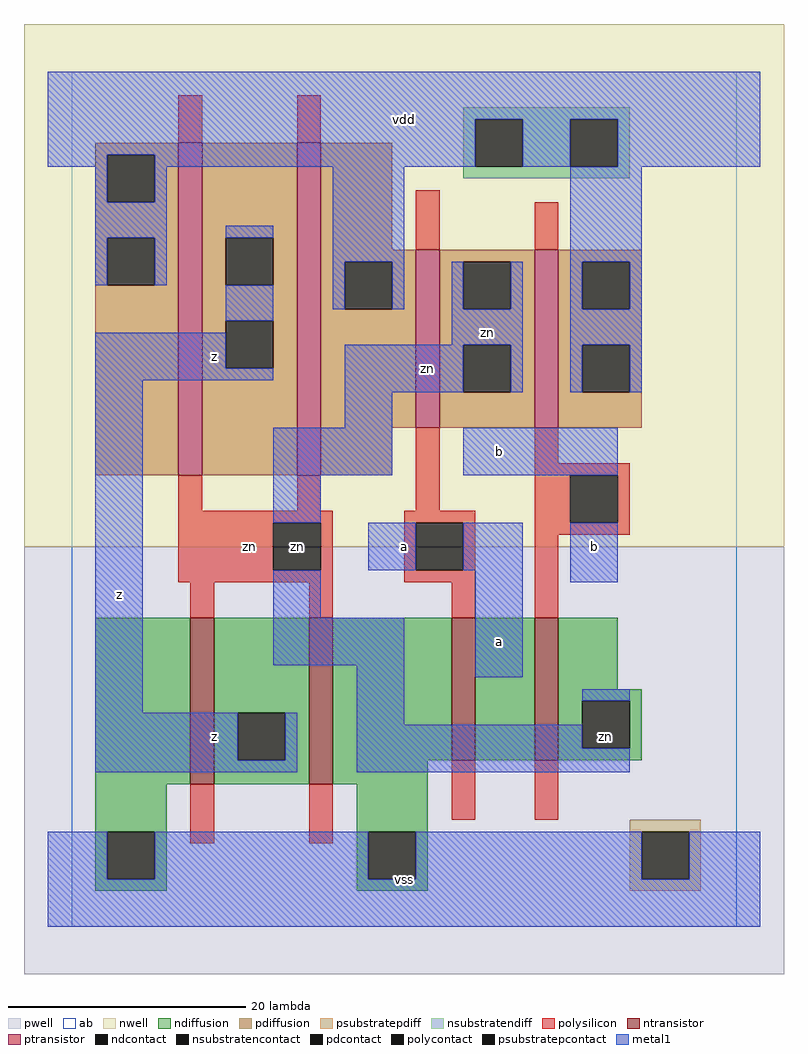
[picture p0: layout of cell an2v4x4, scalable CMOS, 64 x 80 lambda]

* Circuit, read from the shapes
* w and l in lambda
.subckt an2v4x4 a b vdd vss z zn
M1 z zn vss vss nfet w=14 l=2 m=2
M2 n1 a vss vss nfet w=12 l=2
M3 zn b n1 vss nfet w=12 l=2
M4 z zn vdd vdd pfet w=28 l=2 m=2
M5 zn a vdd vdd pfet w=15 l=2
M6 vdd b zn vdd pfet w=15 l=2
.ends

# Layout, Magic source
magic
tech scmos
<< ab >>
rect 0 0 56 72
<< pwell >>
rect -4 -4 60 32
<< nwell >>
rect -4 32 60 76
<< polysilicon >>
rect 9 66 11 70
rect 19 66 21 70
rect 29 57 31 62
rect 39 57 41 61
rect 9 35 11 38
rect 19 35 21 38
rect 29 35 31 42
rect 39 39 41 42
rect 39 38 47 39
rect 9 34 22 35
rect 9 30 17 34
rect 21 30 22 34
rect 9 29 22 30
rect 28 34 34 35
rect 28 30 29 34
rect 33 30 34 34
rect 28 29 34 30
rect 10 26 12 29
rect 20 26 22 29
rect 32 26 34 29
rect 39 34 42 38
rect 46 34 47 38
rect 39 33 47 34
rect 39 26 41 33
rect 10 7 12 12
rect 20 7 22 12
rect 32 9 34 14
rect 39 9 41 14
<< ndiffusion >>
rect 2 12 10 26
rect 12 18 20 26
rect 12 14 14 18
rect 18 14 20 18
rect 12 12 20 14
rect 22 14 32 26
rect 34 14 39 26
rect 41 20 46 26
rect 41 19 48 20
rect 41 15 43 19
rect 47 15 48 19
rect 41 14 48 15
rect 22 12 30 14
rect 2 8 8 12
rect 2 4 3 8
rect 7 4 8 8
rect 24 8 30 12
rect 2 3 8 4
rect 24 4 25 8
rect 29 4 30 8
rect 24 3 30 4
<< pdiffusion >>
rect 2 65 9 66
rect 2 61 3 65
rect 7 61 9 65
rect 2 58 9 61
rect 2 54 3 58
rect 7 54 9 58
rect 2 38 9 54
rect 11 58 19 66
rect 11 54 13 58
rect 17 54 19 58
rect 11 51 19 54
rect 11 47 13 51
rect 17 47 19 51
rect 11 38 19 47
rect 21 57 27 66
rect 21 56 29 57
rect 21 52 23 56
rect 27 52 29 56
rect 21 42 29 52
rect 31 56 39 57
rect 31 52 33 56
rect 37 52 39 56
rect 31 49 39 52
rect 31 45 33 49
rect 37 45 39 49
rect 31 42 39 45
rect 41 56 48 57
rect 41 52 43 56
rect 47 52 48 56
rect 41 49 48 52
rect 41 45 43 49
rect 47 45 48 49
rect 41 42 48 45
rect 21 38 27 42
<< metal1 >>
rect -2 68 58 72
rect -2 65 34 68
rect -2 64 3 65
rect 2 61 3 64
rect 7 64 34 65
rect 38 64 42 68
rect 46 64 58 68
rect 7 61 8 64
rect 2 58 8 61
rect 2 54 3 58
rect 7 54 8 58
rect 13 58 17 59
rect 13 51 17 54
rect 22 56 28 64
rect 42 56 48 64
rect 22 52 23 56
rect 27 52 28 56
rect 32 52 33 56
rect 37 52 38 56
rect 2 47 13 50
rect 32 49 38 52
rect 2 46 17 47
rect 2 18 6 46
rect 23 45 33 49
rect 37 45 38 49
rect 42 52 43 56
rect 47 52 48 56
rect 42 49 48 52
rect 42 45 43 49
rect 47 45 48 49
rect 23 42 27 45
rect 17 38 27 42
rect 33 38 46 42
rect 17 34 21 38
rect 25 30 29 34
rect 33 30 38 34
rect 17 26 21 30
rect 17 22 28 26
rect 2 14 14 18
rect 18 14 19 18
rect 2 13 19 14
rect 24 17 28 22
rect 34 21 38 30
rect 42 29 46 34
rect 43 19 47 20
rect 24 15 43 17
rect 24 13 47 15
rect -2 4 3 8
rect 7 4 25 8
rect 29 4 48 8
rect 52 4 58 8
rect -2 0 58 4
<< ntransistor >>
rect 10 12 12 26
rect 20 12 22 26
rect 32 14 34 26
rect 39 14 41 26
<< ptransistor >>
rect 9 38 11 66
rect 19 38 21 66
rect 29 42 31 57
rect 39 42 41 57
<< polycontact >>
rect 17 30 21 34
rect 29 30 33 34
rect 42 34 46 38
<< ndcontact >>
rect 14 14 18 18
rect 43 15 47 19
rect 3 4 7 8
rect 25 4 29 8
<< pdcontact >>
rect 3 61 7 65
rect 3 54 7 58
rect 13 54 17 58
rect 13 47 17 51
rect 23 52 27 56
rect 33 52 37 56
rect 33 45 37 49
rect 43 52 47 56
rect 43 45 47 49
<< psubstratepcontact >>
rect 48 4 52 8
<< nsubstratencontact >>
rect 34 64 38 68
rect 42 64 46 68
<< psubstratepdiff >>
rect 47 8 53 9
rect 47 4 48 8
rect 52 4 53 8
rect 47 3 53 4
<< nsubstratendiff >>
rect 33 68 47 69
rect 33 64 34 68
rect 38 64 42 68
rect 46 64 47 68
rect 33 63 47 64
<< labels >>
rlabel polysilicon 15 32 15 32 6 zn
rlabel metal1 4 28 4 28 6 z
rlabel metal1 12 16 12 16 6 z
rlabel polycontact 19 32 19 32 6 zn
rlabel metal1 12 48 12 48 6 z
rlabel metal1 28 4 28 4 6 vss
rlabel metal1 28 32 28 32 6 a
rlabel metal1 36 24 36 24 6 a
rlabel metal1 36 40 36 40 6 b
rlabel metal1 30 47 30 47 6 zn
rlabel metal1 35 50 35 50 6 zn
rlabel metal1 28 68 28 68 6 vdd
rlabel ndcontact 45 16 45 16 6 zn
rlabel metal1 44 32 44 32 6 b
<< end >>
